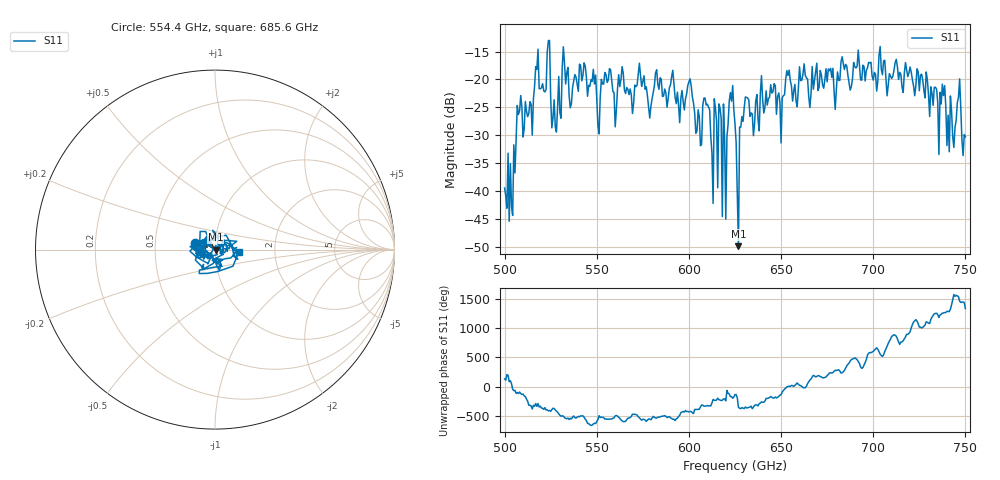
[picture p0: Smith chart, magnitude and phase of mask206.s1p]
!Created with skrf (http://scikit-rf.org).
# GHz S MA R 50.0
!freq magS11 angS11
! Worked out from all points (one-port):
!   401 points, 500 GHz to 750 GHz, reference 50 ohm
!   lowest |S11| = -49.8 dB at 626.9 GHz (marker M1), VSWR 1.01, Z = 50.3 + j0.00562 ohm
!   |S11| at or under -10 dB: start of sweep to end of sweep
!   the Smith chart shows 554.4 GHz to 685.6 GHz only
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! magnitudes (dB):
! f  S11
! 500 GHz  -39.4
! 503.8 GHz  -42.8
! 508.1 GHz  -25.6
! 513.8 GHz  -24.0
! 516.9 GHz  -17.7
! 523.8 GHz  -13.1
! 526.9 GHz  -23.6
! 531.2 GHz  -18.0
! 542.5 GHz  -19.3
! 551.2 GHz  -29.7
! 562.5 GHz  -21.3
! 593.8 GHz  -22.3
! 600.6 GHz  -19.9
! 605.6 GHz  -26.6
! 609.4 GHz  -24.6
! 611.9 GHz  -30.3
! 617.5 GHz  -27.0
! 619.4 GHz  -30.7
! 622.5 GHz  -22.3
! 625 GHz  -27.9
! 626.9 GHz  -49.8
! 631.2 GHz  -23.2
! 656.2 GHz  -23.9
! 687.5 GHz  -21.9
! 718.8 GHz  -19.5
! 742.5 GHz  -25.7
! 746.2 GHz  -23.2
! 750 GHz  -30.2
